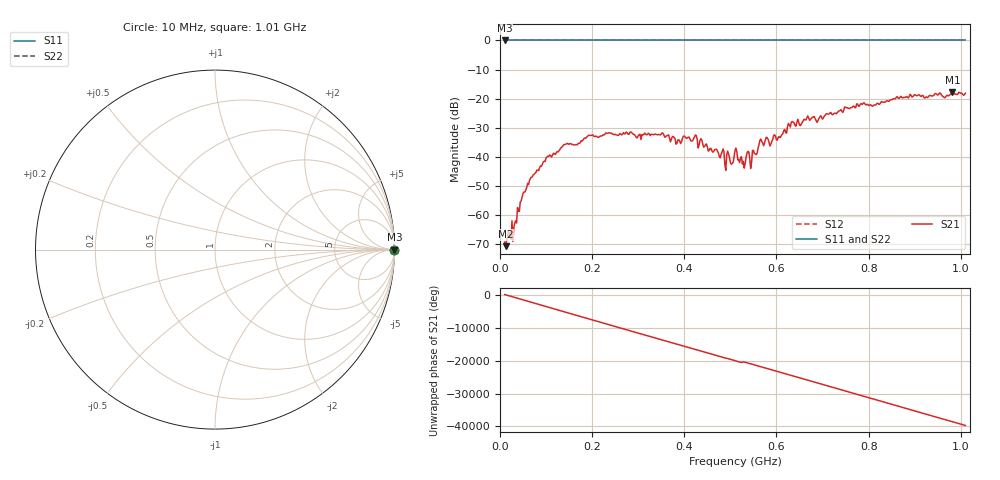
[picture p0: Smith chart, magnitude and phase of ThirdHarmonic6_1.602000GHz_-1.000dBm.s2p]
! 8/16/2025 7:06:20 PM
! C:\ANRITSUVNA\TEMP\TEMP.S2P
! CHANNEL.1
! TR.MEASUREMENT
! RAW.DATA
! RF.CORRECTION.OFF
! AVERAGING.OFF
! IF.BANDWIDTH: 5KHZ
! SWEEPTYPE:  FREQ.SWEEP(Linear)
! Reference Plane Port Info
! PORT:  PORT1  PORT2
! DISTANCE:  0  m  0  m
! TIME:  0  s  0  s
! PHASE.OFFSET:  0  deg.  0  deg.
! LOSS:  0  dB  0  dB
! REF.LOSS:  0  dB  0  dB
! REF.FREQ:  0  Hz  0  Hz
! Power Info
! POWER:  -20  dBm  -20  dBm
! EFF.POWER:  -20  dBm  -20  dBm
! SOURCE.ATTEN:  0  dB  0  dB
! TEST.ATTEN:  0  dB  0  dB
# GHZ S RI R 50.0
! FREQ.GHZ  S11RE  S11IM  S21RE  S21IM  S12RE  S12IM  S22RE  S22IM
!; PortSelection: Port_12
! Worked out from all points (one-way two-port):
!   501 points, 10 MHz to 1.01 GHz, reference 50 ohm
!   highest |S21| = -17.73 dB at 982 MHz (marker M1); lowest = -70.6 dB at 12 MHz (marker M2)
!   lowest |S11| = 0.0 dB at 10 MHz (marker M3)
!   |S11| at or under -10 dB: nowhere
!   |S22| runs from 0.0 to 0.0 dB; largest |S21 - S12| = 1.1
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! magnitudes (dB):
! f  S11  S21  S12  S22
! 10 MHz  0.0  -69.2  0.0  0.0
! 12 MHz  0.0  -70.6  0.0  0.0
! 32 MHz  0.0  -62.7  0.0  0.0
! 48 MHz  0.0  -53.8  0.0  0.0
! 70 MHz  0.0  -46.9  0.0  0.0
! 104 MHz  0.0  -39.7  0.0  0.0
! 178 MHz  0.0  -34.5  0.0  0.0
! 234 MHz  0.0  -31.9  0.0  0.0
! 344 MHz  0.0  -32.3  0.0  0.0
! 386 MHz  0.0  -34.2  0.0  0.0
! 424 MHz  0.0  -32.5  0.0  0.0
! 502 MHz  0.0  -42.5  0.0  0.0
! 510 MHz  0.0  -37.8  0.0  0.0
! 530 MHz  0.0  -43.8  0.0  0.0
! 556 MHz  0.0  -39.2  0.0  0.0
! 566 MHz  0.0  -33.9  0.0  0.0
! 588 MHz  0.0  -35.6  0.0  0.0
! 630 MHz  0.0  -29.7  0.0  0.0
! 678 MHz  0.0  -26.4  0.0  0.0
! 844 MHz  0.0  -20.9  0.0  0.0
! 982 MHz  0.0  -17.7  0.0  0.0
! 1.01 GHz  0.0  -18.1  0.0  0.0
